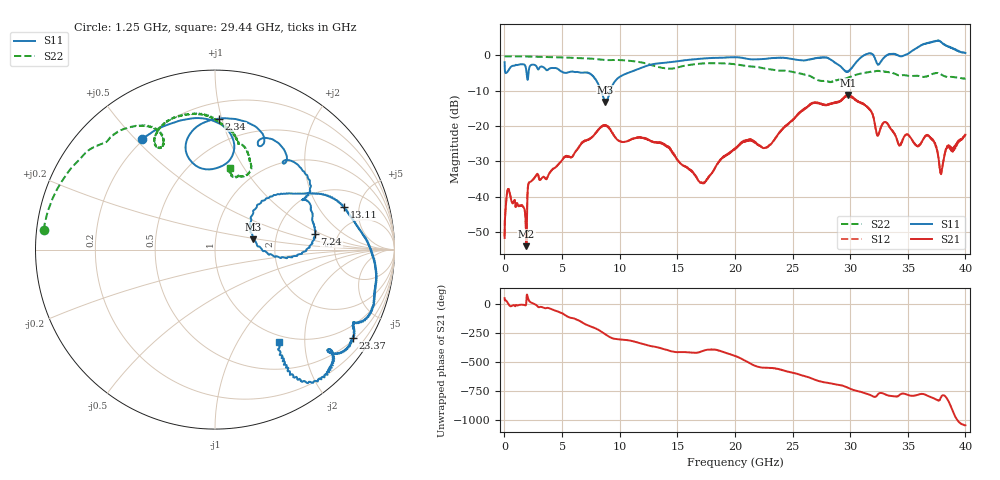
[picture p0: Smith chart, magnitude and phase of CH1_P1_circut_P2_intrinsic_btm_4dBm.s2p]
!Keysight Technologies,N5222B,MY61257109,A.17.25.03
!Date: Wednesday, July 22, 2026 17:30:31
!Correction: S11(C  2-Port  )
!S21(C  2-Port  )
!S12(C  2-Port  )
!S22(C  2-Port  )
!S2P File: Measurements: S11, S21, S12, S22:
# Hz S  dB  R 50
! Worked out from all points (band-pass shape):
!   4000 points, 10 MHz to 40 GHz, reference 50 ohm
!   highest |S21| = -11.26 dB at 29.83 GHz (marker M1); lowest = -54.0 dB at 1.9 GHz (marker M2)
!   |S21| within 3 dB of the highest: 26.43 GHz to 31.33 GHz (4.903 GHz wide, 17 % of centre)
!   lowest |S11| = -13.2 dB at 8.75 GHz (marker M3), VSWR 1.56, Z = 76.1 + j9.22 ohm
!   |S11| at or under -10 dB: 8.367 GHz to 9.188 GHz (820.8 MHz wide, 9.35 % of centre)
!   |S22| runs from -7.6 to -0.3 dB; largest |S21 - S12| = 0.0053
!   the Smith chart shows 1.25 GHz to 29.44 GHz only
!   S11 on the Smith chart (normalised r, x): 1.25 GHz: 0.19, +0.52; 2.34 GHz: 0.31, +0.98; 7.24 GHz: 3.34, +0.84; 13.11 GHz: 3.18, +3.49; 23.37 GHz: 0.58, -3.32; 29.44 GHz: 0.90, -1.52
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1e7  -1.97 -53.1  -51.62 54.4  -51.14 54.0  -0.35 179.9
3e8  -4.51 -178.8  -37.86 9.4  -37.84 9.0  -0.34 178.5
1.25e9  -2.66 123.5  -42.67 -4.6  -42.65 -4.7  -0.35 173.4
1.9e9  -4.51 79.6  -53.95 31.5  -53.73 53.5  -0.37 170.0
2.34e9  -2.74 88.3  -35.57 14.7  -35.56 14.6  -0.39 167.7
4.45e9  -3.66 38.2  -31.62 -55.0  -31.66 -54.4  -0.57 156.8
6.68e9  -4.95 16.8  -24.97 -152.2  -24.85 -151.5  -0.87 145.8
7.24e9  -5.00 8.8  -23.97 178.1  -23.95 178.1  -0.93 142.8
8.75e9  -13.19 15.3  -19.74 102.3  -19.74 102.1  -1.35 135.9
1.311e10  -2.44 18.2  -24.67 -7.8  -24.59 -7.5  -3.17 114.9
1.334e10  -2.34 16.4  -24.77 -13.0  -24.72 -12.9  -3.35 115.1
1.713e10  -0.99 -5.1  -36.00 -45.0  -35.98 -44.4  -2.37 110.6
2.001e10  -0.55 -21.4  -26.30 -85.6  -26.41 -85.1  -2.58 92.5
2.337e10  -0.81 -32.6  -24.13 167.4  -24.13 167.7  -4.17 78.1
2.667e10  -1.08 -41.8  -13.60 78.8  -13.51 78.9  -6.14 65.7
2.944e10  -4.08 -55.2  -12.16 14.1  -12.06 14.3  -6.71 79.9
2.983e10  -4.68 -42.1  -11.26 -2.7  -11.40 -2.7  -6.34 81.3
3.102e10  -0.44 -36.6  -13.63 -40.1  -13.57 -40.4  -5.12 77.1
3.334e10  0.21 -47.3  -19.87 -70.0  -19.81 -70.5  -4.78 60.3
3.611e10  2.69 -56.3  -25.01 -56.0  -25.03 -55.6  -6.02 54.2
3.762e10  4.05 -82.3  -28.28 -110.3  -28.23 -110.3  -5.04 49.4
4e10  0.62 -103.2  -22.45 32.6  -22.56 31.6  -6.59 45.1
